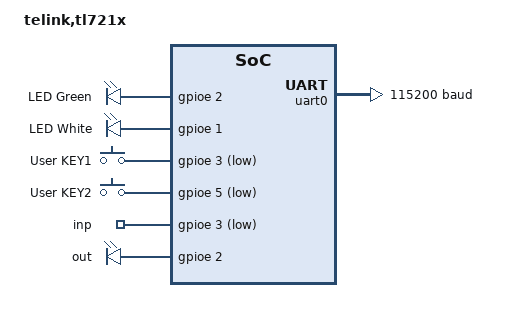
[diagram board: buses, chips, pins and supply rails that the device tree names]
/*
 * Copyright (c) 2024 Telink Semiconductor
 *
 * SPDX-License-Identifier: Apache-2.0
 */

#include "tl7218x-common.dtsi"

/ {
	model = "telink,tl721x";
	compatible = "telink,tl7218x";

	chosen {
		zephyr,console = &uart0;
	};

	aliases {
		/delete-property/ mcuboot-button0;
	};

	leds {
		compatible = "gpio-leds";

		led_green: led_1 {
			gpios = <&gpioe 2 GPIO_ACTIVE_HIGH>;
			label = "LED Green";
		};

		led_white: led_2 {
			gpios = <&gpioe 1 GPIO_ACTIVE_HIGH>;
			label = "LED White";
		};
	};

	keys {
		compatible = "gpio-keys";

		key_1: button_1 {
			label = "User KEY1";
			gpios = <&gpioe 3 (GPIO_ACTIVE_LOW | GPIO_PULL_UP)>;
		};

		key_2: button_2 {
			label = "User KEY2";
			gpios = <&gpioe 5 (GPIO_ACTIVE_LOW | GPIO_PULL_UP)>;
		};
	};

	key_pool {
		compatible = "gpio-keys";

		inp {
			gpios = <&gpioe 3 (GPIO_ACTIVE_LOW | GPIO_PULL_UP)>,
				<&gpioe 5 (GPIO_ACTIVE_LOW | GPIO_PULL_UP)>;
		};
	};

	led_pool {
		compatible = "gpio-leds";

		out {
			gpios = <&gpioe 2 GPIO_ACTIVE_HIGH>,
					<&gpioe 1 GPIO_ACTIVE_HIGH>;
		};
	};

	/delete-node/ pwm_pool;

};

&gpioe {
	interrupts = <27 1>;
	status = "okay";
};

&uart0 {
	status = "okay";
	current-speed = <115200>;
	pinctrl-0 = <&uart0_tx_pf1_default &uart0_rx_pf2_default>;
	pinctrl-names = "default";
};

/* Disable LSPI in overlay */
&lspi {
	status = "disabled";
};

&pinctrl {
	/* Set pad-mul-sel register value.
	 * Note: Pins functions below (pinmux = <...>) depend on this value.
	 */
	pad-mul-sel = <1>;

	/* UART0: TX(PF1), RX(PF2)*/

	uart0_tx_pf1_default: uart0_tx_pf1_default {
		pinmux = <TLX_PINMUX_SET(TLX_PORT_F, TLX_PIN_1,
			(TL721X_FUNC_UART0_TX | TL721X_PULL_UP))>;
	};
	uart0_rx_pf2_default: uart0_rx_pf2_default {
		pinmux = <TLX_PINMUX_SET(TLX_PORT_F, TLX_PIN_2,
			(TL721X_FUNC_UART0_RTX_IO | TL721X_PULL_UP))>;
	};

};
